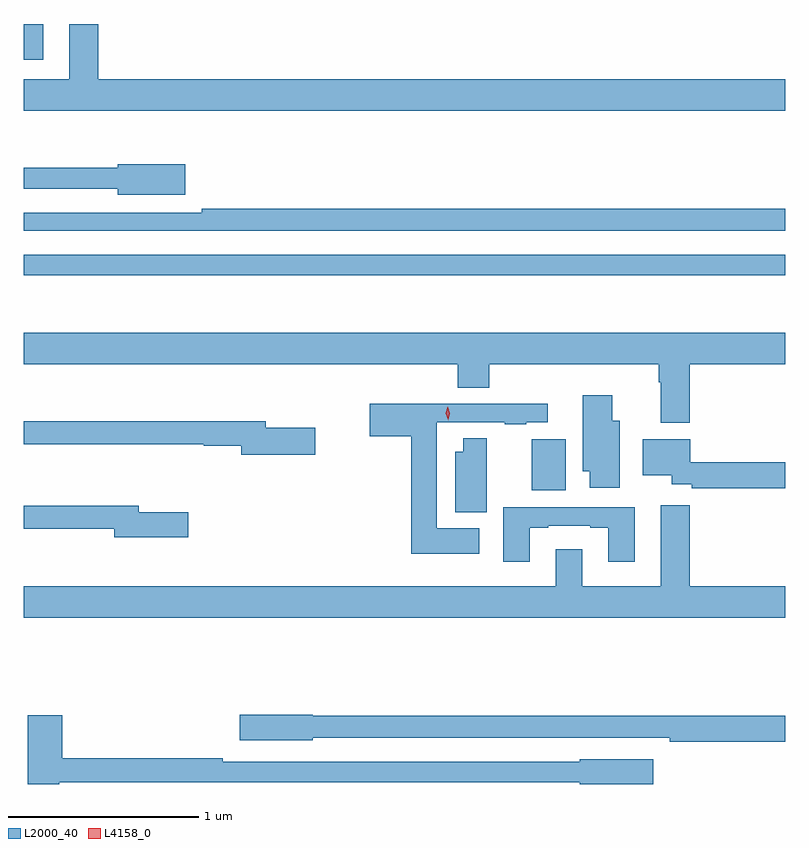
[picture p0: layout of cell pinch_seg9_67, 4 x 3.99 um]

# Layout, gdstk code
import gdstk
lib = gdstk.Library(unit=1e-6, precision=1e-09)
def R(c, l, rs):  # rectangles x0, y0, x1, y1
    for r in rs: c.add(gdstk.rectangle(r[:2], r[2:], *l))
def P(c, l, *ps):  # polygons
    for p in ps: c.add(gdstk.Polygon(p, *l))
L2000_40 = (2000, 40)
L4158_0 = (4158, 0)

pinch_seg9_67 = lib.new_cell('pinch_seg9_67')
R(pinch_seg9_67, L2000_40, [(939.209,1181.105,939.388,1181.374), (936.54,1182.234,940.54,1182.342), (936.54,1183.368,936.643,1183.555)])
P(pinch_seg9_67, L2000_40, [(940.54,1183.264),(936.932,1183.264),(936.932,1183.555),(936.779,1183.555),(936.779,1183.264),(936.54,1183.264),(936.54,1183.1),(940.54,1183.1)],
  [(937.387,1182.817),(937.034,1182.817),(937.034,1182.799),(936.54,1182.799),(936.54,1182.69),(937.034,1182.69),(937.034,1182.659),(937.387,1182.659)],
  [(940.54,1182.584),(937.474,1182.584),(937.474,1182.564),(936.54,1182.564),(936.54,1182.468),(940.54,1182.468)],
  [(940.04,1181.768),(940.54,1181.768),(940.54,1181.932),(936.54,1181.932),(936.54,1181.768),(938.819,1181.768),(938.819,1181.644),(938.984,1181.644),(938.984,1181.768),(939.875,1181.768),(939.875,1181.672),(939.887,1181.672),(939.887,1181.459),(940.04,1181.459)],
  [(939.67,1181.47),(939.631,1181.47),(939.631,1181.605),(939.476,1181.605),(939.476,1181.204),(939.512,1181.204),(939.512,1181.118),(939.67,1181.118)],
  [(938.932,1180.906),(938.71,1180.906),(938.71,1181.463),(939.067,1181.463),(939.067,1181.451),(939.179,1181.451),(939.179,1181.463),(939.292,1181.463),(939.292,1181.561),(939.067,1181.561),(939.067,1181.559),(938.592,1181.559),(938.592,1181.56),(938.358,1181.56),(938.358,1181.39),(938.576,1181.39),(938.576,1180.772),(938.932,1180.772)],
  [(938.071,1181.433),(937.81,1181.433),(937.81,1181.467),(936.54,1181.467),(936.54,1181.346),(937.486,1181.346),(937.486,1181.338),(937.682,1181.338),(937.682,1181.291),(938.071,1181.291)],
  [(938.971,1181.378),(938.849,1181.378),(938.849,1181.308),(938.807,1181.308),(938.807,1180.991),(938.971,1180.991)],
  [(940.54,1181.252),(940.041,1181.252),(940.041,1181.374),(939.791,1181.374),(939.791,1181.183),(939.945,1181.183),(939.945,1181.136),(940.048,1181.136),(940.048,1181.116),(940.54,1181.116)],
  [(940.54,1180.6),(940.04,1180.6),(940.04,1181.026),(939.887,1181.026),(939.887,1180.6),(939.475,1180.6),(939.475,1180.795),(939.335,1180.795),(939.335,1180.6),(936.54,1180.6),(936.54,1180.436),(940.54,1180.436)],
  [(937.405,1180.989),(937.144,1180.989),(937.144,1181.023),(936.54,1181.023),(936.54,1180.902),(937.016,1180.902),(937.016,1180.859),(937.405,1180.859)],
  [(939.199,1180.908),(939.295,1180.908),(939.295,1180.92),(939.515,1180.92),(939.515,1180.908),(939.611,1180.908),(939.611,1180.731),(939.751,1180.731),(939.751,1181.016),(939.059,1181.016),(939.059,1180.731),(939.199,1180.731)],
  [(940.54,1179.92),(938.058,1179.92),(938.058,1179.926),(937.674,1179.926),(937.674,1179.791),(938.058,1179.791),(938.058,1179.804),(939.934,1179.804),(939.934,1179.784),(940.54,1179.784)],
  [(936.726,1179.57),(939.462,1179.57),(939.462,1179.562),(939.847,1179.562),(939.847,1179.691),(939.462,1179.691),(939.462,1179.678),(937.586,1179.678),(937.586,1179.698),(936.743,1179.698),(936.743,1179.922),(936.56,1179.922),(936.56,1179.562),(936.726,1179.562)])
P(pinch_seg9_67, L4158_0, [(938.771,1181.474),(938.771,1181.475),(938.758,1181.509),(938.766,1181.545),(938.766,1181.545),(938.766,1181.545),(938.778,1181.511),(938.771,1181.475)])

lib.write_gds('pinch_seg9_67.gds')
